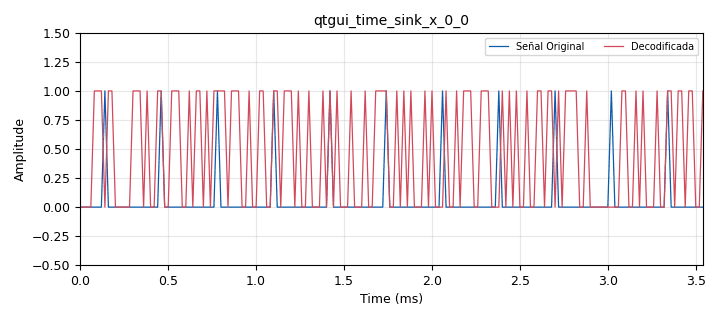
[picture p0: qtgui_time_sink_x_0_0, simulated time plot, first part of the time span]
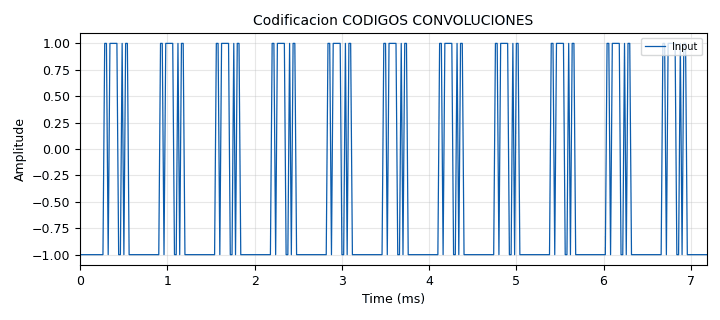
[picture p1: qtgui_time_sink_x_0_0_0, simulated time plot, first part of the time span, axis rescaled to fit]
options:
  parameters:
    author: Camila Vinza
    category: Custom
    generate_options: qt_gui
    id: LDPC
    output_language: python
    title: LDPC
  states: {}

blocks:
- name: dec_cc
  id: variable_cc_decoder_def
  parameters:
    framebits: frame_size*8
    k: k
    mode: fec.CC_STREAMING
    ndim: '0'
    padding: 'False'
    polys: polys
    rate: rate
    state_end: '-1'
    state_start: '0'
  states: {}
- name: delay
  id: variable_qtgui_range
  parameters:
    label: delay
    start: '1'
    step: '1'
    stop: '100'
    value: '25'
  states: {}
- name: enc_cc
  id: variable_cc_encoder_def
  parameters:
    framebits: frame_size*8
    k: k
    mode: fec.CC_STREAMING
    ndim: '0'
    padding: 'False'
    polys: polys
    rate: rate
    state_start: '0'
  states: {}
- name: freq_rds
  id: variable
  parameters:
    value: 90e6
  states: {}
- name: gainrx
  id: variable_qtgui_range
  parameters:
    label: GananciaRx
    start: '0'
    step: '1'
    stop: '100'
    value: '33'
  states: {}
- name: gaintx
  id: variable_qtgui_range
  parameters:
    label: GananciaTx
    start: '1'
    step: '1'
    stop: '100'
    value: '87'
  states: {}
- name: k
  id: variable
  parameters:
    value: '7'
  states: {}
- name: polys
  id: variable
  parameters:
    value: '[79, 109]'
  states: {state: disabled}
- name: polys
  id: variable
  parameters:
    value: '[109, 79]'
  states: {}
- name: rate
  id: variable
  parameters:
    value: '2'
  states: {}
- name: ruido
  id: variable_qtgui_range
  parameters:
    label: Ruido Gaussiano
    start: '0'
    step: '1'
    stop: '5'
    value: '3'
  states: {}
- name: samp_rate
  id: variable
  parameters:
    value: '50000'
  states: {}
- name: samp_rate_RDS
  id: variable
  parameters:
    value: samp_rate*15
  states: {}
- name: analog_noise_source_x_0
  id: analog_noise_source_x
  parameters:
    amp: ruido
    noise_type: analog.GR_GAUSSIAN
    seed: '0'
    type: complex
  states: {}
- name: blocks_add_xx_0
  id: blocks_add_xx
  parameters:
    type: complex
  states: {}
- name: blocks_char_to_float_0_1
  id: blocks_char_to_float
  parameters:
    scale: '1'
  states: {}
- name: blocks_char_to_float_1
  id: blocks_char_to_float
  parameters:
    scale: '1'
  states: {}
- name: blocks_char_to_float_1_0
  id: blocks_char_to_float
  parameters:
    scale: '1'
  states: {}
- name: blocks_complex_to_float_0
  id: blocks_complex_to_float
  parameters: {}
  states: {}
- name: blocks_delay_0
  id: blocks_delay
  parameters:
    delay: delay
    type: float
  states: {}
- name: blocks_float_to_complex_0
  id: blocks_float_to_complex
  parameters: {}
  states: {}
- name: blocks_throttle2_0
  id: blocks_throttle2
  parameters:
    samples_per_second: samp_rate
    type: byte
  states: {}
- name: blocks_throttle2_1
  id: blocks_throttle2
  parameters:
    samples_per_second: samp_rate
    type: complex
  states: {}
- name: blocks_unpack_k_bits_bb_0
  id: blocks_unpack_k_bits_bb
  parameters:
    k: '8'
  states: {}
- name: blocks_vector_source_x_0_1_0
  id: blocks_vector_source_x
  parameters:
    repeat: 'True'
    type: byte
    vector: '[1, 0, 1, 0,1,0]'
  states: {}
- name: digital_map_bb_0
  id: digital_map_bb
  parameters:
    map: '[-1, 1]'
  states: {}
- name: fec_ber_bf_0
  id: fec_ber_bf
  parameters:
    test_mode: 'False'
  states: {}
- name: fec_extended_decoder_0_0
  id: fec_extended_decoder
  parameters:
    decoder_list: dec_cc
    puncpat: puncpat
    threadtype: none
  states: {}
- name: fec_extended_encoder_0
  id: fec_extended_encoder
  parameters:
    encoder_list: enc_cc
    puncpat: puncpat
    threadtype: ordinary
  states: {}
- name: frame_size
  id: parameter
  parameters:
    label: Frame Size
    type: intx
    value: '60'
  states: {}
- name: puncpat
  id: parameter
  parameters:
    value: '''11'''
  states: {}
- name: qtgui_number_sink_1
  id: qtgui_number_sink
  parameters:
    autoscale: 'True'
    graph_type: qtgui.NUM_GRAPH_VERT
    gui_hint: 1,2,1,1
    name: '"BER"'
    type: float
  states: {}
- name: qtgui_time_sink_x_0_0
  id: qtgui_time_sink_x
  parameters:
    alpha2: '0.6'
    gui_hint: 1,0,1,2
    label1: Señal Original
    label2: Decodificada
    nconnections: '2'
    size: '2048'
    srate: samp_rate
    type: float
    ymax: '1.5'
    ymin: '-0.5'
  states: {}
- name: qtgui_time_sink_x_0_0_0
  id: qtgui_time_sink_x
  parameters:
    gui_hint: 0,0,1,3
    label1: Input
    name: '"Codificacion CODIGOS CONVOLUCIONES"'
    size: '2048'
    srate: samp_rate
    type: float
    update_time: '0.01'
    ymax: '1.5'
    ymin: '-0.5'
  states: {}
- name: uhd_usrp_sink_0_0
  id: uhd_usrp_sink
  parameters:
    ant0: '"TX/RX"'
    bw0: 200e3
    center_freq0: freq_rds
    comment: Transmisor USRP
    dev_addr: '"serial=30875AE"'
    gain0: gaintx
    samp_rate: samp_rate_RDS
    sync: sync
    type: fc32
  states: {state: disabled}
- name: uhd_usrp_source_0
  id: uhd_usrp_source
  parameters:
    ant0: '"RX2"'
    bw0: 200e3
    center_freq0: freq_rds
    comment: Receptor USRP
    dev_addr: '"serial=30875AE"'
    gain0: gainrx
    samp_rate: samp_rate_RDS
    sync: pc_clock_next_pps
    type: fc32
  states: {state: disabled}
- name: virtual_sink_0
  id: virtual_sink
  parameters:
    stream_id: t1
  states: {}
- name: virtual_sink_1
  id: virtual_sink
  parameters:
    stream_id: original
  states: {}
- name: virtual_source_0
  id: virtual_source
  parameters:
    stream_id: t1
  states: {}
- name: virtual_source_1
  id: virtual_source
  parameters:
    stream_id: original
  states: {}

connections:
- [analog_noise_source_x_0, '0', blocks_add_xx_0, '0']
- [blocks_add_xx_0, '0', blocks_throttle2_1, '0']
- [blocks_char_to_float_0_1, '0', qtgui_time_sink_x_0_0, '0']
- [blocks_char_to_float_1, '0', blocks_float_to_complex_0, '0']
- [blocks_char_to_float_1, '0', qtgui_time_sink_x_0_0_0, '0']
- [blocks_char_to_float_1_0, '0', blocks_delay_0, '0']
- [blocks_complex_to_float_0, '0', fec_extended_decoder_0_0, '0']
- [blocks_delay_0, '0', qtgui_time_sink_x_0_0, '1']
- [blocks_float_to_complex_0, '0', blocks_add_xx_0, '1']
- [blocks_throttle2_0, '0', blocks_unpack_k_bits_bb_0, '0']
- [blocks_throttle2_1, '0', virtual_sink_0, '0']
- [blocks_unpack_k_bits_bb_0, '0', blocks_char_to_float_0_1, '0']
- [blocks_unpack_k_bits_bb_0, '0', fec_extended_encoder_0, '0']
- [blocks_unpack_k_bits_bb_0, '0', virtual_sink_1, '0']
- [blocks_vector_source_x_0_1_0, '0', blocks_throttle2_0, '0']
- [digital_map_bb_0, '0', blocks_char_to_float_1, '0']
- [fec_ber_bf_0, '0', qtgui_number_sink_1, '0']
- [fec_extended_decoder_0_0, '0', blocks_char_to_float_1_0, '0']
- [fec_extended_decoder_0_0, '0', fec_ber_bf_0, '1']
- [fec_extended_encoder_0, '0', digital_map_bb_0, '0']
- [uhd_usrp_source_0, '0', blocks_complex_to_float_0, '0']
- [virtual_source_0, '0', blocks_complex_to_float_0, '0']
- [virtual_source_1, '0', fec_ber_bf_0, '0']

metadata:
  file_format: 1
  grc_version: 3.10.8.0
